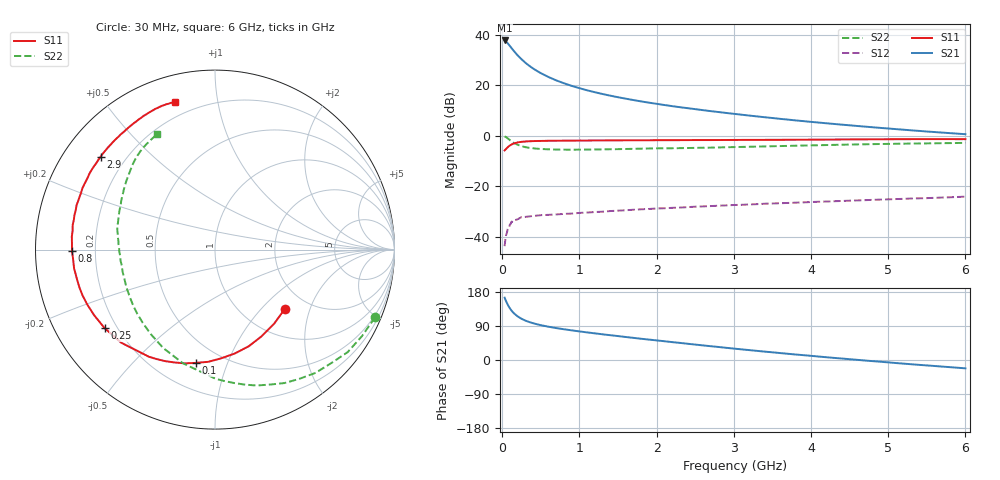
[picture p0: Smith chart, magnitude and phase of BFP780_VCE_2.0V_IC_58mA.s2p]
! Infineon Technologies  Discrete & RF Semiconductors
! BFP780
! VCE =  2.0 V,  IC =  58 mA
! Common Emitter S-Parameters:  Jul 2015
# GHz  S  MA  R  50
!  f  S11  S21  S12  S22
! GHz  MAG  ANG  MAG  ANG  MAG  ANG  MAG  ANG
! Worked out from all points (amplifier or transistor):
!   75 points, 30 MHz to 6 GHz, reference 50 ohm
!   highest |S21| = 37.7 dB at 30 MHz (marker M1)
!   |S21| within 3 dB of that: start of sweep to 119.1 MHz
!   unconditionally stable (mu >= 1): 2.008 GHz to end of sweep
!   at 150 MHz: K = 0.13, MSG = 33.6 dB, |S12| = -33.6 dB
!   at 2.3 GHz: K = 1.09, MAG = 18.1 dB, |S12| = -28.5 dB
!   at 6 GHz: K = 1.38, MAG = 8.7 dB, |S12| = -24.1 dB
!   S11 on the Smith chart (normalised r, x): 30 MHz: 1.53, -1.37; 100 MHz: 0.36, -0.78; 250 MHz: 0.15, -0.31; 800 MHz: 0.11, -0.00; 2.9 GHz: 0.11, +0.35; 6 GHz: 0.13, +0.76
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0.03  0.5106 -40.3  76.58 164.5  0.0065 77.1  0.968 -23.0
0.05  0.5488 -62.0  72.35 154.6  0.0109 64.3  0.9342 -37.7
0.06  0.5706 -70.8  69.91 150.4  0.012 67.5  0.9061 -44.1
0.08  0.6071 -86.9  64.53 142.5  0.0155 54.9  0.8602 -56.8
0.1  0.6405 -99.7  59.04 135.9  0.0177 50.3  0.8125 -67.7
0.12  0.6682 -109.8  53.98 130.2  0.0199 45.8  0.771 -77.4
0.15  0.7012 -121.6  47.38 123.4  0.0209 40.0  0.7199 -89.7
0.2  0.7362 -135.2  38.7 114.9  0.0222 33.0  0.6582 -105.7
0.25  0.7549 -144.6  32.44 108.7  0.0245 29.2  0.6194 -117.8
0.3  0.7664 -151.6  27.68 103.9  0.0247 26.8  0.5915 -127.2
0.35  0.775 -156.9  24.1 100.1  0.0252 24.2  0.5732 -134.6
0.45  0.7842 -164.4  19.07 94.3  0.0262 22.2  0.5525 -145.5
0.6  0.792 -172.3  14.44 87.8  0.0271 20.3  0.5368 -156.7
0.8  0.797 -179.6  10.87 81.1  0.0283 20.4  0.5294 -166.5
1.1  0.8004 172.4  7.888 72.8  0.0301 20.7  0.5297 -176.3
1.5  0.8063 164.2  5.758 63.1  0.0328 21.8  0.5406 174.8
2.1  0.8141 153.7  4.042 49.5  0.0366 21.7  0.5602 164.9
2.9  0.821 140.9  2.816 32.2  0.0417 20.7  0.5892 152.4
3.1  0.8232 137.9  2.597 28.1  0.0428 20.3  0.5983 149.5
4.1  0.8349 124.1  1.816 9.1  0.0492 17.3  0.6465 136.8
5.1  0.8516 113.0  1.347 -8.0  0.0556 13.3  0.6907 126.1
6  0.853 105.0  1.068 -22.0  0.0621 8.7  0.7191 116.6
